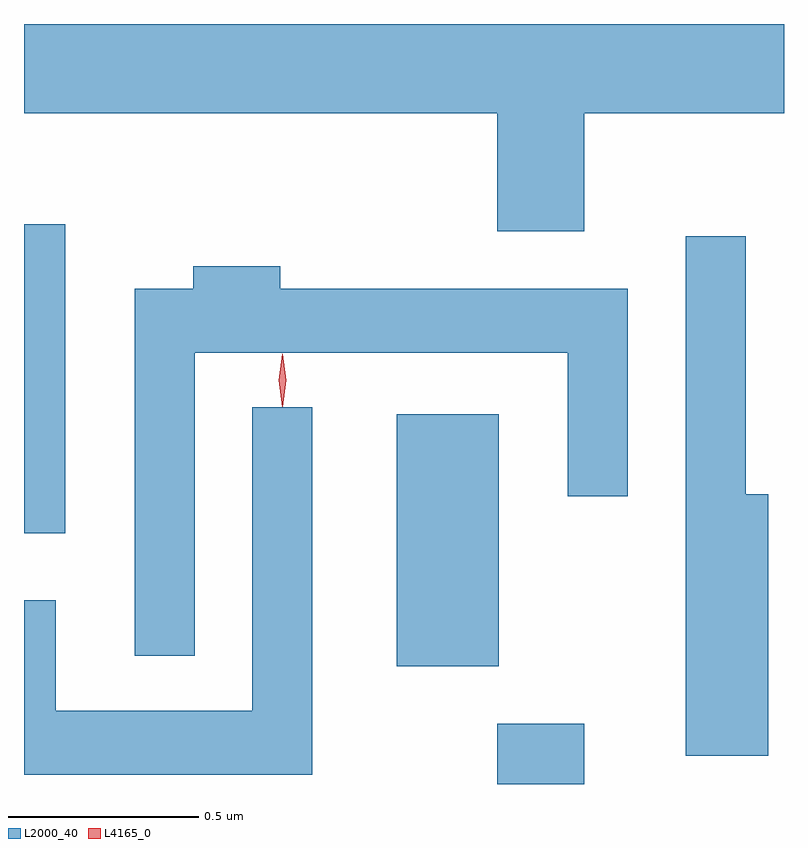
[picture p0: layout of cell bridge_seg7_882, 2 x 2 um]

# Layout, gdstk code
import gdstk
lib = gdstk.Library(unit=1e-6, precision=1e-09)
def R(c, l, rs):  # rectangles x0, y0, x1, y1
    for r in rs: c.add(gdstk.rectangle(r[:2], r[2:], *l))
def P(c, l, *ps):  # polygons
    for p in ps: c.add(gdstk.Polygon(p, *l))
L2000_40 = (2000, 40)
L4165_0 = (4165, 0)

bridge_seg7_882 = lib.new_cell('bridge_seg7_882')
R(bridge_seg7_882, L2000_40, [(320.231,1688.131,320.459,1688.289), (319.966,1688.441,320.234,1689.104), (318.985,1688.791,319.094,1689.604)])
P(bridge_seg7_882, L2000_40, [(320.459,1689.896),(320.985,1689.896),(320.985,1690.131),(318.985,1690.131),(318.985,1689.896),(320.231,1689.896),(320.231,1689.586),(320.459,1689.586)],
  [(320.944,1688.894),(320.884,1688.894),(320.884,1689.573),(320.726,1689.573),(320.726,1688.206),(320.944,1688.206)],
  [(319.434,1689.266),(320.416,1689.266),(320.416,1688.888),(320.574,1688.888),(320.574,1689.434),(319.659,1689.434),(319.659,1689.494),(319.431,1689.494),(319.431,1689.434),(319.276,1689.434),(319.276,1688.468),(319.434,1688.468)],
  [(319.744,1689.123),(319.586,1689.123),(319.586,1688.324),(319.069,1688.324),(319.069,1688.614),(318.985,1688.614),(318.985,1688.156),(319.744,1688.156)])
P(bridge_seg7_882, L4165_0, [(319.665,1689.124),(319.665,1689.124),(319.655,1689.193),(319.665,1689.262),(319.665,1689.263),(319.666,1689.262),(319.675,1689.193),(319.666,1689.124)],
  [(319.665,1689.127),(319.665,1689.127),(319.655,1689.194),(319.665,1689.26),(319.665,1689.261),(319.666,1689.26),(319.675,1689.194),(319.666,1689.127)])

lib.write_gds('bridge_seg7_882.gds')
